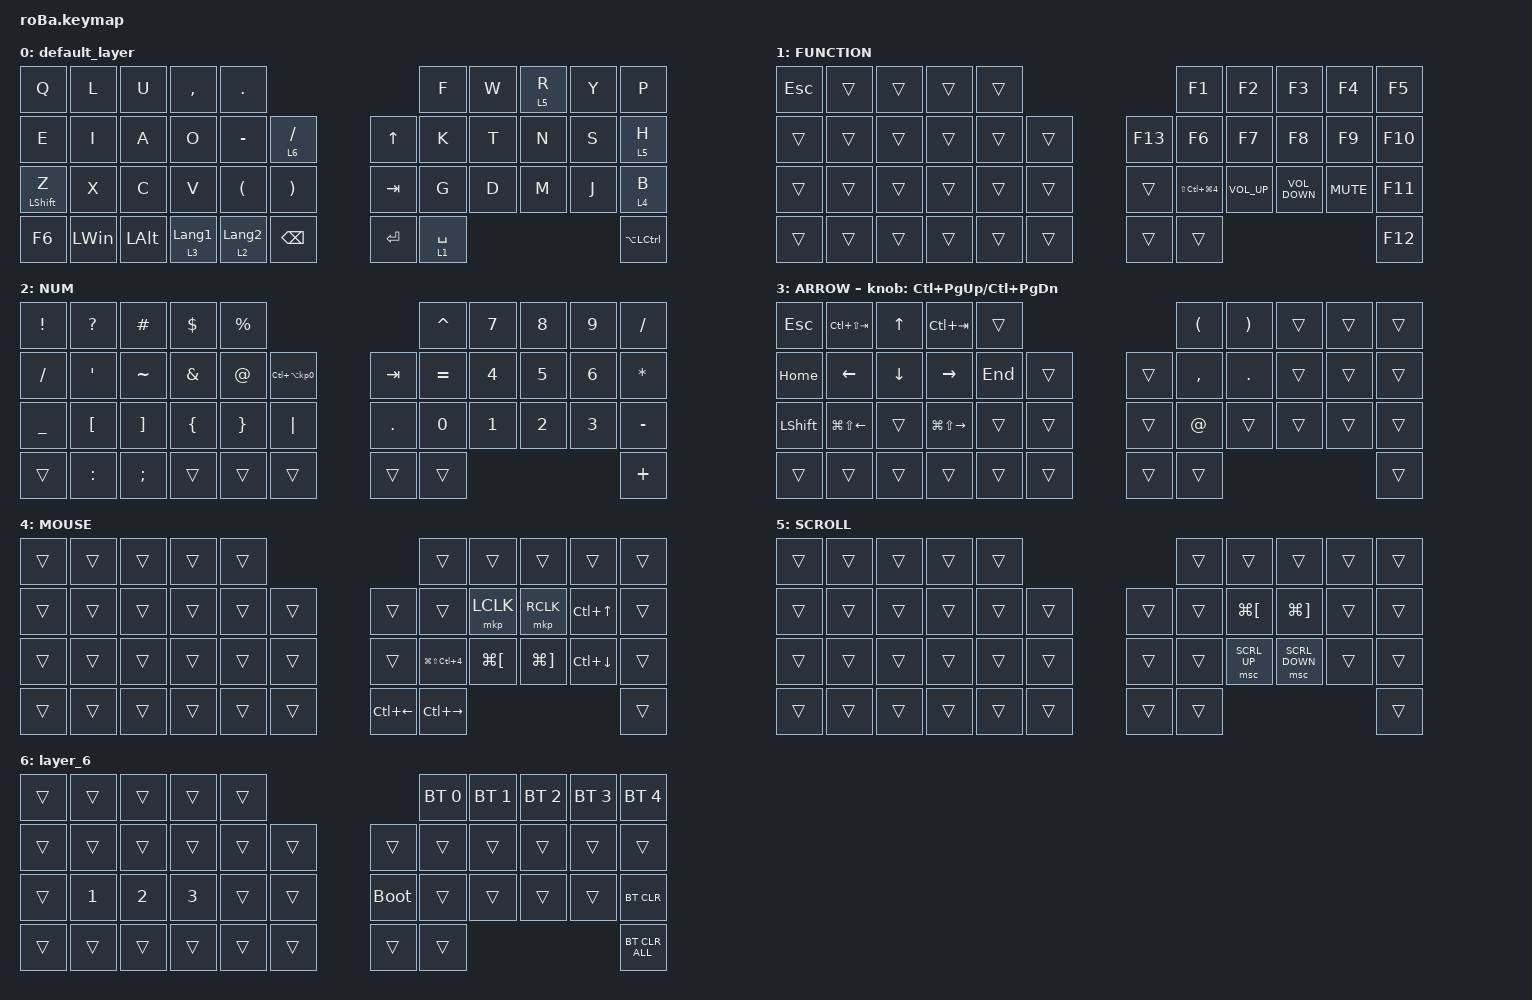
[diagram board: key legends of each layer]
#include <behaviors.dtsi>
#include <dt-bindings/zmk/bt.h>
#include <dt-bindings/zmk/keys.h>
#include <dt-bindings/zmk/pointing.h>

&mt {
    flavor = "balanced";
    quick-tap-ms = <0>;
};

&trackball {
    // automouse-layer = <4>;

    scroll-layers = <5>;

    // arrows {
    //     layers = <3>;
    //     bindings =
    //         <&kp RIGHT_ARROW>,
    //         <&kp LEFT_ARROW>,
    //         <&kp UP_ARROW>,
    //         <&kp DOWN_ARROW>;
    //     tick = <10>;
    //     wait-ms = <5>;
    //     tap-ms = <5>;
    // };
};

/ {
    combos {
        compatible = "zmk,combos";

        tab {
            bindings = <&kp TAB>;
            key-positions = <11 12>;
        };

        shift_tab {
            bindings = <&kp LS(TAB)>;
            key-positions = <12 13>;
        };

        muhennkann {
            bindings = <&to_layer_0 INT_MUHENKAN>;
            key-positions = <11 10>;
        };

        double_quotation {
            bindings = <&kp DOUBLE_QUOTES>;
            key-positions = <20 21>;
        };

        eq {
            bindings = <&kp EQUAL>;
            key-positions = <24 25>;
        };

        esc {
            bindings = <&kp ESC>;
            key-positions = <0 1>;
        };
    };

    macros {
        to_layer_0: to_layer_0 {
            compatible = "zmk,behavior-macro-one-param";
            #binding-cells = <1>;
            bindings = <&to 0 &macro_param_1to1 &kp MACRO_PLACEHOLDER>;
            label = "TO_LAYER_0";
        };
    };

    behaviors {
        lt_to_layer_0: lt_to_layer_0 {
            compatible = "zmk,behavior-hold-tap";
            label = "LAYER_TAP_TO_0";
            bindings = <&mo>, <&to_layer_0>;

            #binding-cells = <2>;
            tapping-term-ms = <200>;
        };
    };

    keymap {
        compatible = "zmk,keymap";

        default_layer {
            bindings = <
&kp Q             &kp L         &kp U         &kp COMMA                    &kp PERIOD                                                     &kp F        &kp W  &lt 5 R  &kp Y  &kp P
&kp E             &kp I         &kp A         &kp O                        &kp MINUS             &lt 6 SLASH                &kp UP_ARROW  &kp K        &kp T  &kp N    &kp S  &lt 5 H
&mt LEFT_SHIFT Z  &kp X         &kp C         &kp V                        &kp LEFT_PARENTHESIS  &kp RIGHT_PARENTHESIS      &kp TAB       &kp G        &kp D  &kp M    &kp J  &lt 4 B
&kp F6            &kp LEFT_WIN  &kp LEFT_ALT  &lt_to_layer_0 3 LANGUAGE_1  &lt 2 LANGUAGE_2      &kp BACKSPACE              &kp ENTER     &lt 1 SPACE                         &kp LA(LEFT_CONTROL)
            >;
        };

        FUNCTION {
            bindings = <
&kp ESCAPE  &trans  &trans  &trans  &trans                       &kp F1                    &kp F2        &kp F3             &kp F4      &kp F5
&trans      &trans  &trans  &trans  &trans  &trans      &kp F13  &kp F6                    &kp F7        &kp F8             &kp F9      &kp F10
&trans      &trans  &trans  &trans  &trans  &trans      &trans   &kp LS(LC(LG(NUMBER_4)))  &kp C_VOL_UP  &kp C_VOLUME_DOWN  &kp C_MUTE  &kp F11
&trans      &trans  &trans  &trans  &trans  &trans      &trans   &trans                                                                 &kp F12
            >;
        };

        NUM {
            bindings = <
&kp EXCLAMATION  &kp QUESTION      &kp HASH           &kp DOLLAR      &kp PERCENT                                            &kp CARET  &kp N7        &kp N8        &kp N9        &kp SLASH
&kp SLASH        &kp SQT           &kp TILDE          &kp AMPERSAND   &kp AT_SIGN      &kp LC(LA(KP_NUMBER_0))      &kp TAB  &kp EQUAL  &kp NUMBER_4  &kp N5        &kp NUMBER_6  &kp ASTERISK
&kp UNDER        &kp LEFT_BRACKET  &kp RIGHT_BRACKET  &kp LEFT_BRACE  &kp RIGHT_BRACE  &kp PIPE                     &kp DOT  &kp N0     &kp NUMBER_1  &kp NUMBER_2  &kp NUMBER_3  &kp MINUS
&trans           &kp COLON         &kp SEMICOLON      &trans          &trans           &trans                       &trans   &trans                                               &kp PLUS
            >;
        };

        ARROW {
            bindings = <
&kp ESCAPE      &kp LC(LS(TAB))         &kp UP_ARROW    &kp LC(TAB)              &trans                       &kp LEFT_PARENTHESIS  &kp RIGHT_PARENTHESIS  &trans  &trans  &trans
&kp HOME        &kp LEFT_ARROW          &kp DOWN_ARROW  &kp RIGHT_ARROW          &kp END  &trans      &trans  &kp COMMA             &kp PERIOD             &trans  &trans  &trans
&kp LEFT_SHIFT  &kp LG(LS(LEFT_ARROW))  &trans          &kp LG(LS(RIGHT_ARROW))  &trans   &trans      &trans  &kp AT_SIGN           &trans                 &trans  &trans  &trans
&trans          &trans                  &trans          &trans                   &trans   &trans      &trans  &trans                                                       &trans
            >;

            sensor-bindings = <&inc_dec_kp LC(PAGE_UP) LC(PAGE_DOWN)>;
        };

        MOUSE {
            bindings = <
&trans  &trans  &trans  &trans  &trans                            &trans                    &trans                &trans                 &trans            &trans
&trans  &trans  &trans  &trans  &trans  &trans      &trans        &trans                    &mkp LCLK             &mkp RCLK              &kp LC(UP_ARROW)  &trans
&trans  &trans  &trans  &trans  &trans  &trans      &trans        &kp LG(LS(LC(NUMBER_4)))  &kp LG(LEFT_BRACKET)  &kp LG(RIGHT_BRACKET)  &kp LC(DOWN)      &trans
&trans  &trans  &trans  &trans  &trans  &trans      &kp LC(LEFT)  &kp LC(RIGHT)                                                                            &trans
            >;
        };

        SCROLL {
            bindings = <
&trans  &trans  &trans  &trans  &trans                      &trans  &trans                &trans                 &trans  &trans
&trans  &trans  &trans  &trans  &trans  &trans      &trans  &trans  &kp LG(LEFT_BRACKET)  &kp LG(RIGHT_BRACKET)  &trans  &trans
&trans  &trans  &trans  &trans  &trans  &trans      &trans  &trans  &msc SCRL_UP          &msc SCRL_DOWN         &trans  &trans
&trans  &trans  &trans  &trans  &trans  &trans      &trans  &trans                                                       &trans
            >;
        };

        layer_6 {
            bindings = <
&trans  &trans        &trans        &trans        &trans                           &bt BT_SEL 0  &bt BT_SEL 1  &bt BT_SEL 2  &bt BT_SEL 3  &bt BT_SEL 4
&trans  &trans        &trans        &trans        &trans  &trans      &trans       &trans        &trans        &trans        &trans        &trans
&trans  &kp NUMBER_1  &kp NUMBER_2  &kp NUMBER_3  &trans  &trans      &bootloader  &trans        &trans        &trans        &trans        &bt BT_CLR
&trans  &trans        &trans        &trans        &trans  &trans      &trans       &trans                                                  &bt BT_CLR_ALL
            >;
        };
    };
};
